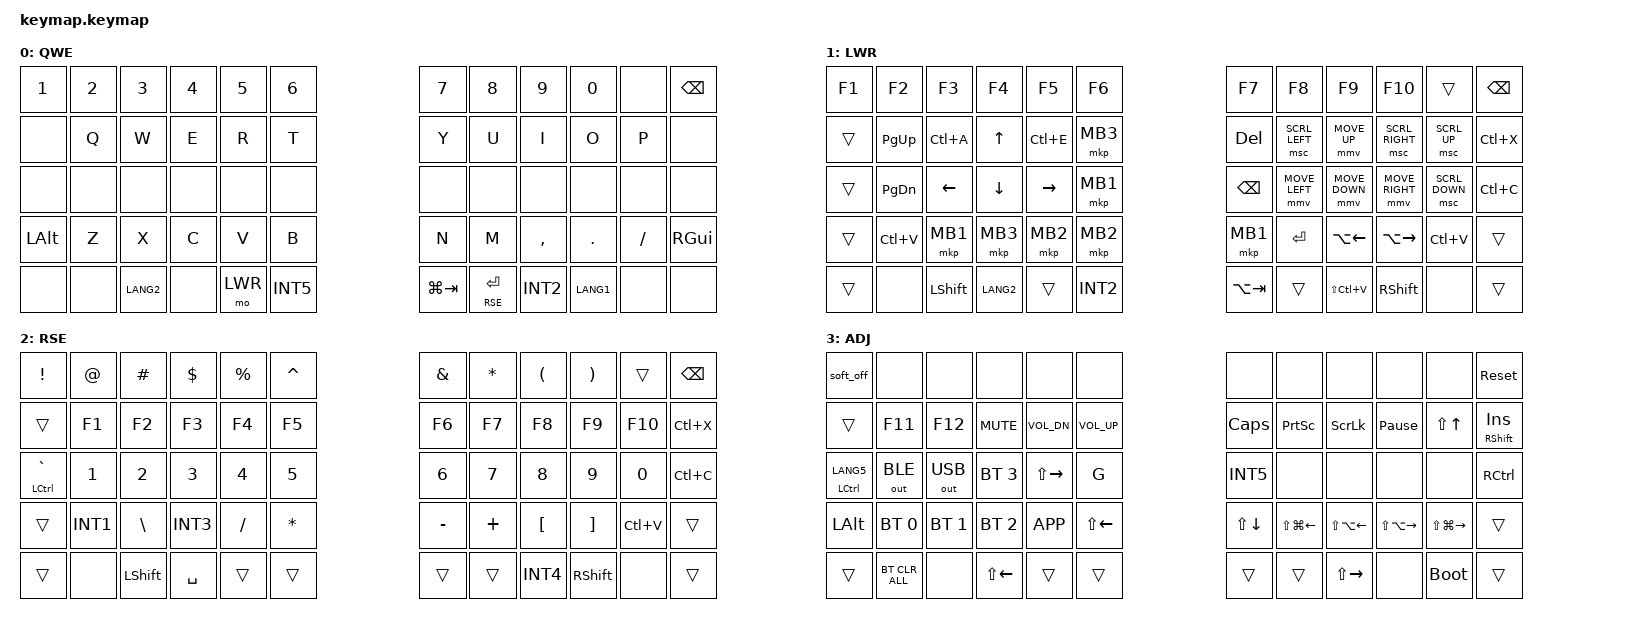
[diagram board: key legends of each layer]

#include <behaviors.dtsi>
#include <dt-bindings/zmk/keys.h>
#include <dt-bindings/zmk/bt.h>
#include <dt-bindings/zmk/mouse.h>
#include <dt-bindings/zmk/outputs.h>

// #include <dt-bindings/zmk/pointing.h>

#define ZMK_POINTING_DEFAULT_MOVE_VAL 1200   // default: 600
#define ZMK_POINTING_DEFAULT_SCRL_VAL 240    // default: 10

#define QWE 0
// #define NIC 1
// #define LIN 2
// #define NICL 3
// #define WIN 4
#define LWR 1
// #define LWRW 6
#define RSE 2
// #define RSEW 8
#define ADJ 3
// #define ADJW 10
// #define MOV 11
// #define MOVW 12
// #define NUM 13
// #define BLE 14

&lt {
    quick-tap-ms = <140>;
};

&mt {
    quick-tap-ms = <140>;
};

&caps_word {
    continue-list = <UNDERSCORE MINUS>;
};

/ { // ここが唯一のルートノードの始まり
    conditional_layers {
        compatible = "zmk,conditional-layers";

        tri-layer {
            if-layers = <LWR RSE>;
            then-layer = <ADJ>;
        };
    }; // conditional_layers の閉じ括弧の後にセミコロンが必要

    keymap {
        compatible = "zmk,keymap";

        default_layer {
            display-name = "QWE";
            bindings = <
            // +---------------+---------------+---------------+---------------+---------------+---------------+---------------+---------------+---------------+---------------+---------------+---------------+---------------+---------------
                &kp N1          &kp N2          &kp N3          &kp N4          &kp N5          &kp N6                                          &kp N7          &kp N8          &kp N9          &kp N0          &none           &kp BSPC
                &none           &kp Q           &kp W           &kp E           &kp R           &kp T                                           &kp Y           &kp U		    &kp I           &kp O           &kp P           &none
                &none           &none           &none           &none           &none           &none                                           &none           &none           &none           &none           &none           &none
                &kp LALT        &kp Z           &kp X           &kp C           &kp V           &kp B                                           &kp N           &kp M			&kp COMMA       &kp DOT         &kp FSLH        &kp RGUI
                                &none           &none           &kp LANG2       &none           &mo LWR         &kp INT5        &kp LG(TAB)     &lt RSE ENTER   &kp INT2	    &kp LANG1       &none           &none
            >;
        };

        lower_layer {
            display-name = "LWR";
            bindings = <
            // +---------------+---------------+---------------+---------------+---------------+---------------+---------------+---------------+---------------+---------------+---------------+---------------+---------------+---------------
                &kp F1          &kp F2          &kp F3          &kp F4          &kp F5          &kp F6                                       &kp F7    	&kp F8         &kp F9         &kp F10           &trans         &kp BSPC
                &trans          &kp PG_UP       &kp LC(A)       &kp UP          &kp LC(E)       &mkp MB3                                     &kp DEL     &msc SCRL_LEFT &mmv MOVE_UP   &msc SCRL_RIGHT   &msc SCRL_UP   &kp LC(X)           
                &trans          &kp PG_DN       &kp LEFT        &kp DOWN        &kp RIGHT       &mkp MB1                                     &kp BSPC    &mmv MOVE_LEFT &mmv MOVE_DOWN &mmv MOVE_RIGHT   &msc SCRL_DOWN &kp LC(C)
                &trans          &kp LC(V)       &mkp MB1        &mkp MB3        &mkp MB2        &mkp MB2                                     &mkp MB1    &kp ENTER      &kp LA(LEFT)   &kp LA(RIGHT)     &kp LC(V)      &trans
                                &trans          &none           &kp LSHFT       &kp LANG2       &trans          &kp INT2     &kp LA(TAB)   &trans      &kp LS(LC(V))  &kp RSHFT      &none             &trans
            >;
        };

        raise_layer {
            display-name = "RSE";
            bindings = <
            // +---------------+---------------+---------------+---------------+---------------+---------------+---------------+---------------+---------------+---------------+---------------+---------------+---------------+---------------
                &kp EXCL        &kp AT          &kp HASH        &kp DLLR        &kp PRCNT       &kp CARET                                       &kp AMPS        &kp ASTRK       &kp LPAR        &kp RPAR        &trans          &kp BSPC
                &trans		    &kp F1          &kp F2          &kp F3          &kp F4          &kp F5                                          &kp F6          &kp F7    	    &kp F8          &kp F9          &kp F10         &kp LC(X)
                &mt LCTRL GRAVE &kp N1          &kp N2          &kp N3          &kp N4          &kp N5                                          &kp N6          &kp N7    	    &kp N8          &kp N9          &kp N0          &kp LC(C)
                &trans          &kp INT1        &kp BSLH        &kp INT3        &kp SLASH       &kp ASTRK                                       &kp MINUS       &kp PLUS  	    &kp LBKT        &kp RBKT        &kp LC(V)       &trans
                                &trans          &none           &kp LSHFT       &kp SPACE       &trans          &trans          &trans          &trans          &kp INT4	    &kp RSHFT       &none           &trans
            >;
        };

        adjust_layer {
            display-name = "ADJ";
            bindings = <
            // +---------------+---------------+---------------+---------------+---------------+---------------+---------------+---------------+---------------+---------------+---------------+---------------+---------------+---------------
                &soft_off       &none           &none           &none           &none           &none                                           &none           &none           &none           &none           &none           &sys_reset
                &trans          &kp F11         &kp F12         &kp C_MUTE      &kp C_VOL_DN    &kp C_VOL_UP                                    &kp CAPS        &kp PSCRN      	&kp SLCK        &kp PAUSE_BREAK &kp LS(UP)      &mt RSHFT INS
                &mt LCTRL LANG5 &out OUT_BLE    &out OUT_USB    &bt BT_SEL 3    &kp LS(RIGHT)   &kp G                                           &kp INT5        &none           &none           &none           &none     		&kp RCTRL
                &kp LALT        &bt BT_SEL 0    &bt BT_SEL 1    &bt BT_SEL 2    &kp K_APP       &kp LS(LEFT)                                    &kp LS(DOWN)  &kp LS(LG(LEFT)) &kp LS(LA(LEFT)) &kp LS(LA(RIGHT)) &kp LS(LG(RIGHT)) &trans
                                &trans          &bt BT_CLR_ALL  &none           &kp LS(LEFT)    &trans          &trans          &trans          &trans          &kp LS(RIGHT)   &none           &bootloader     &trans
            >;
        };
    };
};
